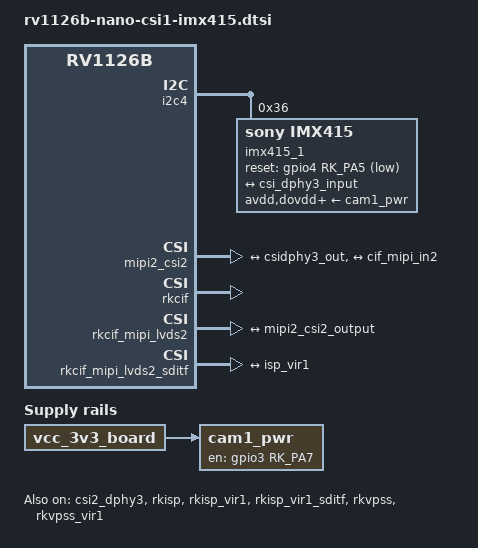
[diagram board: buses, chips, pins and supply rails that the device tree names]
// SPDX-License-Identifier: (GPL-2.0+ OR MIT)
/*
 * Copyright (c) 2025 Guangzhou EASY EAI Technology Co., Ltd.
 */

/*
 * csi2_dphy0 -> csi0(rx0) clk0 + 4 lane
 * csi2_dphy1 -> csi0(rx0) clk0 + 2 lane 0/1
 * csi2_dphy2 -> csi0(rx0) clk1 + 2 lane 2/3
 * csi2_dphy3 -> csi1(rx1) clk0 + 4 lane
 * csi2_dphy4 -> csi1(rx1) clk0 + 2 lane 0/1
 * csi2_dphy5 -> csi1(rx1) clk1 + 2 lane 2/3
 */

/ {
	cam1_pwr: cam1-pwr {
		compatible = "regulator-fixed";
		gpio = <&gpio3 RK_PA7 GPIO_ACTIVE_HIGH>;
		pinctrl-names = "default";
		pinctrl-0 = <&cam1_en_pin>;
		regulator-name = "cam1_pwr";
		enable-active-high;
		vin-supply = <&vcc_3v3_board>;
	};
};

&csi2_dphy3 {
	status = "okay";

	ports {
		#address-cells = <1>;
		#size-cells = <0>;
		port@0 {
			reg = <0>;
			#address-cells = <1>;
			#size-cells = <0>;

			csi_dphy3_input: endpoint@1 {
				reg = <1>;
				remote-endpoint = <&imx415_out1>;
				data-lanes = <1 2 3 4>;
			};
		};
		port@1 {
			reg = <1>;
			#address-cells = <1>;
			#size-cells = <0>;

			csidphy3_out: endpoint@0 {
				reg = <0>;
				remote-endpoint = <&mipi2_csi2_input>;
				data-lanes = <1 2 3 4>;
			};
		};
	};
};

&i2c4 {
	status = "okay";
	pinctrl-0 = <&i2c4m2_pins>;

	imx415_1: imx415@36 {
		status = "okay";
		compatible = "sony,imx415";
		reg = <0x36>;
		clocks = <&cru CLK_MIPI1_OUT2IO>;
		clock-names = "xvclk";

		//pwdn-gpios = <&gpio4 RK_PA4 GPIO_ACTIVE_HIGH>;
		reset-gpios = <&gpio4 RK_PA5 GPIO_ACTIVE_LOW>;
		pinctrl-names = "default";
		pinctrl-0 = <&cam_clk1_pins &csi1_pwdn &csi1_rst>;

		avdd-supply = <&cam1_pwr>;
		dovdd-supply = <&cam1_pwr>;
		dvdd-supply = <&cam1_pwr>;

		rockchip,camera-module-index = <1>;
		rockchip,camera-module-facing = "back";
		rockchip,camera-module-name = "default";
		rockchip,camera-module-lens-name = "default";

		port {
			imx415_out1: endpoint {
				remote-endpoint = <&csi_dphy3_input>;
				data-lanes = <1 2 3 4>;
			};
		};
	};
};

&mipi2_csi2 {
	status = "okay";

	ports {
		#address-cells = <1>;
		#size-cells = <0>;

		port@0 {
			reg = <0>;
			#address-cells = <1>;
			#size-cells = <0>;

			mipi2_csi2_input: endpoint@1 {
				reg = <1>;
				remote-endpoint = <&csidphy3_out>;
			};
		};

		port@1 {
			reg = <1>;
			#address-cells = <1>;
			#size-cells = <0>;

			mipi2_csi2_output: endpoint@0 {
				reg = <0>;
				remote-endpoint = <&cif_mipi_in2>;
			};
		};
	};
};

&pinctrl {
	mipi-csi {
		/omit-if-no-ref/
		csi1_rst: csi1_rst {
			rockchip,pins =
				<4 RK_PA5 RK_FUNC_GPIO &pcfg_pull_up>;
		};

		/omit-if-no-ref/
		csi1_pwdn: csi1_pwdn {
			rockchip,pins =
				<4 RK_PA4 RK_FUNC_GPIO &pcfg_pull_up>;
		};
		/omit-if-no-ref/
		cam1_en_pin: cam1_en_pin {
			rockchip,pins =
				<3 RK_PA7 RK_FUNC_GPIO &pcfg_pull_up>;
		};
	};
};

&rkcif {
	status = "okay";
};

&rkcif_mipi_lvds2 {
	status = "okay";

	port {
		cif_mipi_in2: endpoint {
			remote-endpoint = <&mipi2_csi2_output>;
		};
	};
};

&rkcif_mipi_lvds2_sditf {
	status = "okay";

	port {
		mipi_lvds2_sditf: endpoint {
			remote-endpoint = <&isp_vir1>;
		};
	};
};

&rkcif_mmu {
	status = "okay";
};

&rkisp {
	status = "okay";
};

&rkisp_mmu {
	status = "okay";
};

&rkisp_vir1 {
	status = "okay";

	port {
		#address-cells = <1>;
		#size-cells = <0>;

		isp_vir1: endpoint@0 {
			reg = <0>;
			remote-endpoint = <&mipi_lvds2_sditf>;
		};
	};
};

&rkisp_vir1_sditf {
	status = "okay";
};

&rkvpss {
	status = "okay";
	dvbm = <&rkdvbm>;
};

&rkvpss_mmu {
	status = "okay";
};

&rkvpss_vir1 {
	status = "okay";
};
